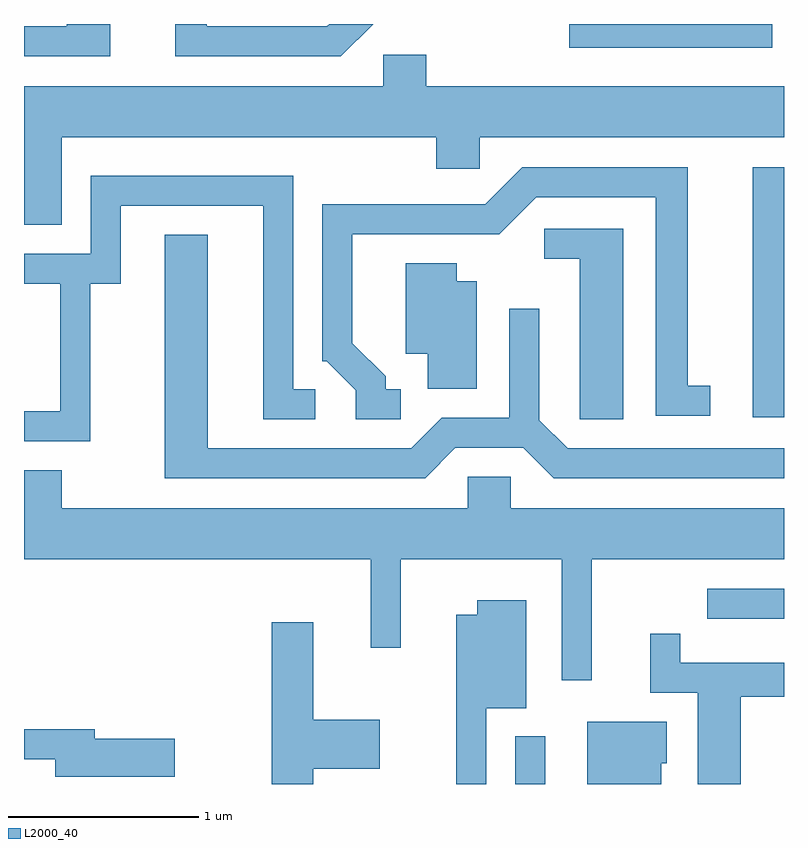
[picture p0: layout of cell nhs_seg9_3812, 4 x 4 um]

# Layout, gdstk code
import gdstk
lib = gdstk.Library(unit=1e-6, precision=1e-09)
def R(c, l, rs):  # rectangles x0, y0, x1, y1
    for r in rs: c.add(gdstk.rectangle(r[:2], r[2:], *l))
def P(c, l, *ps):  # polygons
    for p in ps: c.add(gdstk.Polygon(p, *l))
L2000_40 = (2000, 40)

nhs_seg9_3812 = lib.new_cell('nhs_seg9_3812')
R(nhs_seg9_3812, L2000_40, [(300.196,1968.432,300.354,1968.683), (301.208,1969.301,301.611,1969.459), (301.446,1970.361,301.611,1971.679), (300.481,1972.306,301.549,1972.432)])
P(nhs_seg9_3812, L2000_40, [(299.448,1972.432),(299.217,1972.432),(299.204,1972.419),(298.574,1972.419),(298.574,1972.432),(298.406,1972.432),(298.406,1972.261),(299.277,1972.261)],
  [(298.064,1972.432),(297.836,1972.432),(297.836,1972.419),(297.611,1972.419),(297.611,1972.261),(298.064,1972.261)],
  [(297.809,1971.836),(299.781,1971.836),(299.781,1971.671),(300.009,1971.671),(300.009,1971.836),(301.611,1971.836),(301.611,1972.104),(299.729,1972.104),(299.729,1972.269),(299.501,1972.269),(299.501,1972.104),(297.611,1972.104),(297.611,1971.376),(297.809,1971.376)],
  [(299.593,1970.509),(299.514,1970.509),(299.514,1970.577),(299.339,1970.752),(299.339,1971.326),(300.112,1971.326),(300.307,1971.521),(300.936,1971.521),(300.936,1970.371),(301.223,1970.371),(301.223,1970.529),(301.104,1970.529),(301.104,1971.679),(300.234,1971.679),(300.039,1971.484),(299.181,1971.484),(299.181,1970.656),(299.204,1970.656),(299.356,1970.504),(299.356,1970.351),(299.593,1970.351)],
  [(297.959,1971.066),(298.119,1971.066),(298.119,1971.476),(298.871,1971.476),(298.871,1970.351),(299.143,1970.351),(299.143,1970.509),(299.029,1970.509),(299.029,1971.634),(297.961,1971.634),(297.961,1971.224),(297.611,1971.224),(297.611,1971.066),(297.801,1971.066),(297.801,1970.394),(297.611,1970.394),(297.611,1970.236),(297.959,1970.236)],
  [(300.764,1971.354),(300.348,1971.354),(300.348,1971.196),(300.536,1971.196),(300.536,1970.351),(300.764,1970.351)],
  [(299.882,1970.201),(300.239,1970.201),(300.399,1970.041),(301.611,1970.041),(301.611,1970.199),(300.472,1970.199),(300.324,1970.347),(300.324,1970.933),(300.166,1970.933),(300.166,1970.359),(299.809,1970.359),(299.649,1970.199),(298.579,1970.199),(298.579,1971.324),(298.351,1971.324),(298.351,1970.041),(299.722,1970.041)],
  [(299.994,1971.079),(299.889,1971.079),(299.889,1971.174),(299.621,1971.174),(299.621,1970.696),(299.736,1970.696),(299.736,1970.511),(299.994,1970.511)],
  [(300.599,1969.616),(301.611,1969.616),(301.611,1969.884),(300.174,1969.884),(300.174,1970.049),(299.946,1970.049),(299.946,1969.884),(297.809,1969.884),(297.809,1970.084),(297.611,1970.084),(297.611,1969.616),(299.436,1969.616),(299.436,1969.148),(299.594,1969.148),(299.594,1969.616),(300.441,1969.616),(300.441,1968.978),(300.599,1968.978)],
  [(300.044,1968.831),(300.254,1968.831),(300.254,1969.399),(299.996,1969.399),(299.996,1969.324),(299.886,1969.324),(299.886,1968.432),(300.044,1968.432)],
  [(299.134,1968.511),(299.484,1968.511),(299.484,1968.769),(299.134,1968.769),(299.134,1969.284),(298.916,1969.284),(298.916,1968.432),(299.134,1968.432)],
  [(301.384,1968.891),(301.611,1968.891),(301.611,1969.069),(301.064,1969.069),(301.064,1969.223),(300.906,1969.223),(300.906,1968.911),(301.156,1968.911),(301.156,1968.432),(301.384,1968.432)],
  [(300.964,1968.541),(300.994,1968.541),(300.994,1968.759),(300.576,1968.759),(300.576,1968.432),(300.964,1968.432)],
  [(298.404,1968.669),(297.984,1968.669),(297.984,1968.719),(297.611,1968.719),(297.611,1968.561),(297.776,1968.561),(297.776,1968.471),(298.404,1968.471)])

lib.write_gds('nhs_seg9_3812.gds')
